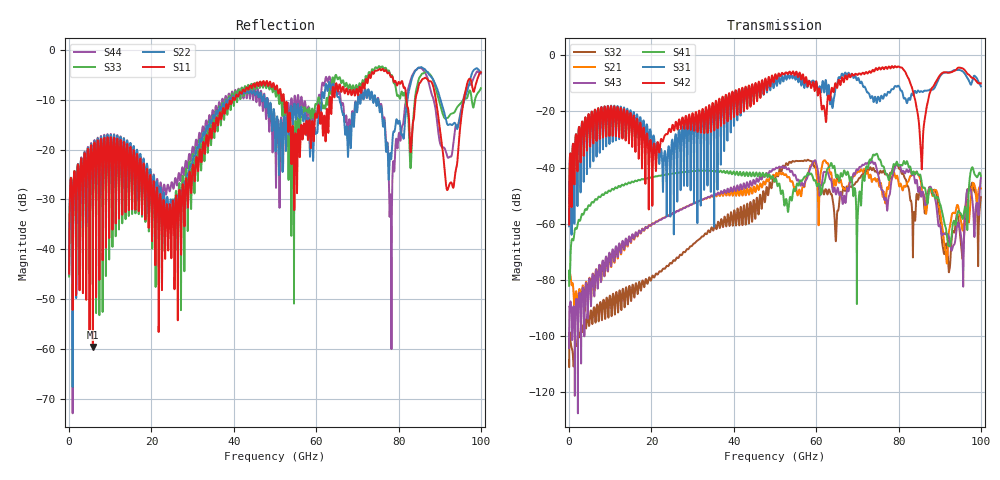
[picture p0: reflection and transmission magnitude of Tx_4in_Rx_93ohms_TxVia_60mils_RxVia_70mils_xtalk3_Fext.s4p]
! Info: Touchstone file created by Circ.  Input file=Tx_4in_Rx_93ohms_TxVia_60mils_RxVia_70mils.circ
# Hz S RI R 50
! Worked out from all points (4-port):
!   10000 points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, 10 MHz to 100 GHz, reference 50 ohm
!   strongest paths, dB at 10 MHz, 25.01 GHz, 50.01 GHz, 75.01 GHz, 100 GHz:
!     S42: -60.3, -25.3, -7.0, -5.0, -10.0
!     S31: -60.9, -30.1, -8.4, -14.9, -11.1
!     S41: -82.1, -42.2, -44.5, -36.1, -43.0
!     S43: -104.3, -56.6, -40.6, -42.1, -43.7
!     S21: -79.1, -56.4, -43.2, -44.3, -47.5
!     S32: -108.6, -74.0, -44.8, -42.1, -50.5
!   lowest |S11| = -59.6 dB at 5.77 GHz (marker M1), VSWR 1.00, Z = 49.9 + j0.0722 ohm
!   |S11| at or under -10 dB: start of sweep to 39.66 GHz; 52.22 GHz to 63.23 GHz (11.02 GHz wide, 19.1 % of centre); 89.07 GHz to 95.86 GHz (6.79 GHz wide, 7.34 % of centre)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
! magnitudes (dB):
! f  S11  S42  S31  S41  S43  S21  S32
! 10 MHz  -44.9  -60.3  -60.9  -82.1  -104.3  -79.1  -108.6
! 5.77 GHz  -59.6  -25.4  -26.4  -52.4  -77.9  -77.8  -93.5
! 54.66 GHz  -30.5  -7.0  -7.4  -47.7  -42.8  -47.3  -37.9
! 78.1 GHz  -5.4  -4.6  -12.7  -42.1  -46.8  -43.1  -41.8
! 85.57 GHz  -6.1  -38.8  -12.8  -44.9  -50.2  -46.5  -49.5
! 92.32 GHz  -27.1  -6.3  -6.1  -68.0  -65.4  -62.2  -76.7
! 100 GHz  -4.4  -10.0  -11.1  -43.0  -43.7  -47.5  -50.5
